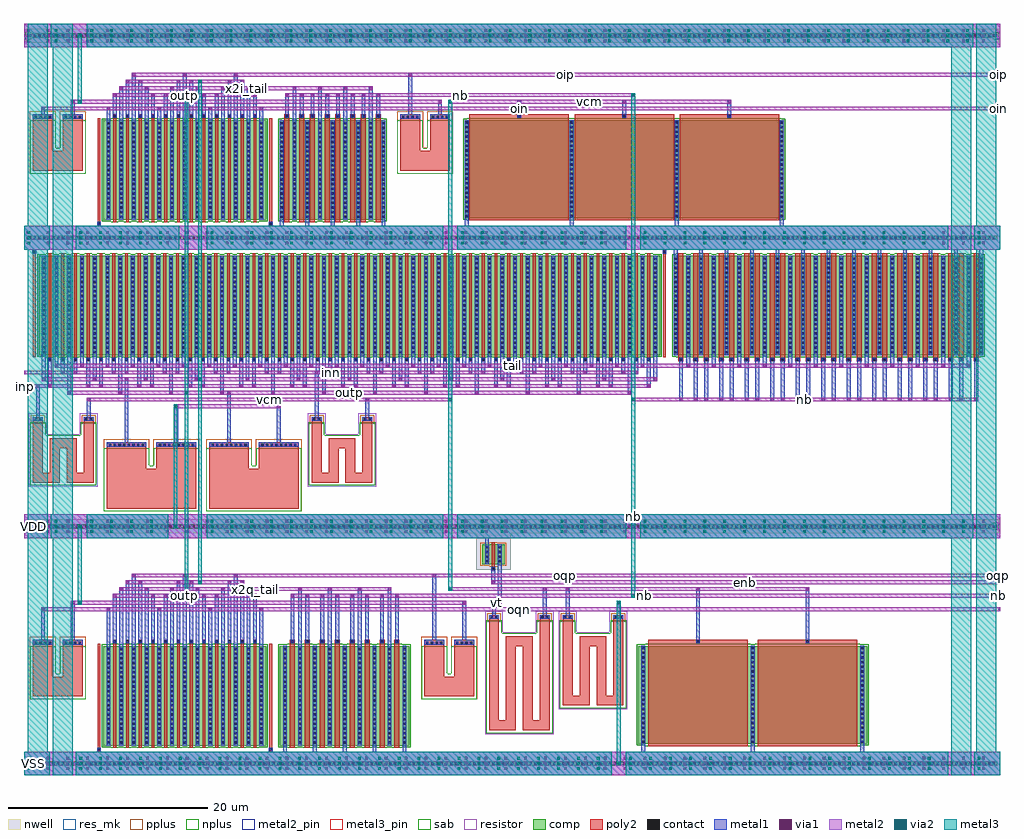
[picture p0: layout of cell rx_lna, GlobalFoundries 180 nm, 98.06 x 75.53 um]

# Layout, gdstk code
import gdstk
lib = gdstk.Library(unit=1e-6, precision=1e-09)
def R(c, l, rs):  # rectangles x0, y0, x1, y1
    for r in rs: c.add(gdstk.rectangle(r[:2], r[2:], *l))
def A(c, l, x, y, w, h, nx, ny, dx, dy):  # array of equal rectangles
    R(c, l, [(x+i*dx, y+j*dy, x+i*dx+w, y+j*dy+h) for i in range(nx) for j in range(ny)])
nwell = (21, 0)
comp = (22, 0)
poly2 = (30, 0)
pplus = (31, 0)
nplus = (32, 0)
contact = (33, 0)
metal1 = (34, 0)
via1 = (35, 0)
metal2 = (36, 0)
metal2_pin = (36, 10)
via2 = (38, 0)
metal3 = (42, 0)
metal3_pin = (42, 10)
sab = (49, 0)
resistor = (62, 0)
res_mk = (110, 5)

rx_lna = lib.new_cell('rx_lna')
R(rx_lna, nwell, [(45.42,18.285,48.9,21.915), (0.15,21.915,97.91,23.315), (0.15,71.235,97.91,72.635)])
R(rx_lna, comp, [(0.3,-1.39,97.76,-1.01), (7.98,0.6,24.34,10.6), (25.72,0.6,38.72,10.6), (61.72,0.77,84.72,10.6), (46.02,18.815,48.3,20.815), (0.3,22.425,97.76,22.805), (1.48,39.82,63.92,49.82), (65.3,39.82,96.36,49.82), (0.3,51.43,97.76,51.81), (7.98,53.42,24.34,63.42), (25.72,53.42,36.3,63.42), (44.3,53.59,76.32,63.42), (0.3,71.745,97.76,72.125)])
A(rx_lna, poly2, 8.98, 0.37, 0.28, 10.49, 12, 2, 1.28, 52.82)
A(rx_lna, poly2, 26.72, 0.37, 0.5, 10.86, 8, 1, 1.5, 0)
A(rx_lna, poly2, 8.935, 10.86, 0.37, 0.37, 12, 2, 1.28, 52.82)
A(rx_lna, poly2, 2.435, 39.19, 0.37, 0.37, 48, 1, 1.28, 0)
A(rx_lna, poly2, 2.48, 39.56, 0.28, 10.49, 48, 1, 1.28, 0)
A(rx_lna, poly2, 44.75, 53.36, 10, 10.69, 3, 1, 10.56, 0)
R(rx_lna, poly2, [(7.355,0.03,7.725,0.4), (24.595,0.03,24.965,0.4), (7.4,0.4,7.68,10.83), (24.64,0.4,24.92,10.83), (62.72,0.54,72.72,11.23), (73.72,0.54,83.72,11.23), (46.72,2.125,49.42,3.125), (50.12,2.125,52.82,3.125), (46.72,3.125,47.72,13.71), (48.42,3.125,49.42,10.6), (50.12,3.125,51.12,10.6), (51.82,3.125,52.82,13.71), (54.12,4.625,56.82,5.625), (57.52,4.625,60.22,5.625), (0.9,5.53,5.9,7.53), (40.22,5.53,45.22,7.53), (54.12,5.625,55.12,13.71), (55.82,5.625,56.82,10.6), (57.52,5.625,58.52,10.6), (59.22,5.625,60.22,13.71), (0.9,7.53,2.9,11.21), (3.9,7.53,5.9,11.21), (40.22,7.53,42.22,11.21), (43.22,7.53,45.22,11.21), (48.42,10.6,51.12,11.6), (55.82,10.6,58.52,11.6), (46.975,18.185,47.345,18.555), (47.02,18.555,47.3,21.045), (8.3,24.415,17.3,28.415), (18.6,24.415,27.6,28.415), (0.9,27.01,3.6,28.01), (4.3,27.01,7,28.01), (28.9,27.01,31.6,28.01), (32.3,27.01,35,28.01), (0.9,28.01,1.9,33.595), (2.6,28.01,3.6,30.485), (4.3,28.01,5.3,30.485), (6,28.01,7,33.595), (28.9,28.01,29.9,33.595), (30.6,28.01,31.6,30.485), (32.3,28.01,33.3,30.485), (34,28.01,35,33.595), (8.3,28.415,12.3,31.095), (13.3,28.415,17.3,31.095), (18.6,28.415,22.6,31.095), (23.6,28.415,27.6,31.095), (2.6,30.485,5.3,31.485), (30.6,30.485,33.3,31.485), (65.75,39.19,66.25,50.05), (67.25,39.19,67.75,50.05), (68.31,39.19,68.81,50.05), (69.81,39.19,70.31,50.05), (70.87,39.19,71.37,50.05), (72.37,39.19,72.87,50.05), (73.43,39.19,73.93,50.05), (74.93,39.19,75.43,50.05), (75.99,39.19,76.49,50.05), (77.49,39.19,77.99,50.05), (78.55,39.19,79.05,50.05), (80.05,39.19,80.55,50.05), (81.11,39.19,81.61,50.05), (82.61,39.19,83.11,50.05), (83.67,39.19,84.17,50.05), (85.17,39.19,85.67,50.05), (86.23,39.19,86.73,50.05), (87.73,39.19,88.23,50.05), (88.79,39.19,89.29,50.05), (90.29,39.19,90.79,50.05), (91.35,39.19,91.85,50.05), (92.85,39.19,93.35,50.05), (93.91,39.19,94.41,50.05), (95.41,39.19,95.91,50.05), (0.9,39.59,1.18,50.02), (64.22,39.59,64.5,50.02), (0.855,50.02,1.225,50.39), (64.175,50.02,64.545,50.39), (7.355,52.85,7.725,53.22), (24.595,52.85,24.965,53.22), (26.17,53.19,26.67,64.05), (27.67,53.19,28.17,64.05), (28.73,53.19,29.23,64.05), (30.23,53.19,30.73,64.05), (31.29,53.19,31.79,64.05), (32.79,53.19,33.29,64.05), (33.85,53.19,34.35,64.05), (35.35,53.19,35.85,64.05), (7.4,53.22,7.68,63.65), (24.64,53.22,24.92,63.65), (0.9,58.35,5.9,60.35), (37.8,58.35,42.8,60.35), (0.9,60.35,2.9,64.03), (3.9,60.35,5.9,64.03), (37.8,60.35,39.8,64.03), (40.8,60.35,42.8,64.03)])
R(rx_lna, pplus, [(0.28,-1.41,97.78,-0.99), (0.6,5.23,6.2,7.83), (39.92,5.23,45.52,7.83), (0.6,7.83,3.2,11.51), (3.6,7.83,6.2,11.51), (39.92,7.83,42.52,11.51), (42.92,7.83,45.52,11.51), (46.52,13.1,47.92,13.91), (51.62,13.1,53.02,13.91), (53.92,13.1,55.32,13.91), (59.02,13.1,60.42,13.91), (46.79,18.585,47.53,18.655), (45.86,18.655,48.46,20.975), (46.79,20.975,47.53,21.045), (8,24.115,17.6,28.715), (18.3,24.115,27.9,28.715), (8,28.715,12.6,31.395), (13,28.715,17.6,31.395), (18.3,28.715,22.9,31.395), (23.3,28.715,27.9,31.395), (0.7,32.985,2.1,33.795), (5.8,32.985,7.2,33.795), (28.7,32.985,30.1,33.795), (33.8,32.985,35.2,33.795), (0.28,51.41,97.78,51.83), (0.6,58.05,6.2,60.65), (37.5,58.05,43.1,60.65), (0.6,60.65,3.2,64.33), (3.6,60.65,6.2,64.33), (37.5,60.65,40.1,64.33), (40.5,60.65,43.1,64.33)])
A(rx_lna, nplus, 8.75, 0.37, 0.74, 0.07, 12, 2, 1.28, 10.39)
A(rx_lna, nplus, 26.49, 0.37, 0.96, 0.07, 8, 2, 1.5, 10.39)
A(rx_lna, nplus, 2.25, 39.59, 0.74, 0.07, 48, 2, 1.28, 10.39)
A(rx_lna, nplus, 67.02, 39.59, 2.02, 0.07, 11, 2, 2.56, 10.39)
A(rx_lna, nplus, 8.75, 53.19, 0.74, 0.07, 12, 2, 1.28, 10.39)
A(rx_lna, nplus, 27.44, 53.19, 2.02, 0.07, 3, 2, 2.56, 10.39)
R(rx_lna, nplus, [(7.82,0.44,24.5,10.76), (25.56,0.44,38.88,10.76), (62.49,0.54,72.95,0.61), (73.49,0.54,83.95,0.61), (61.56,0.61,84.88,10.76), (62.49,10.76,72.95,10.83), (73.49,10.76,83.95,10.83), (0.14,22.265,0.74,22.405), (97.32,22.265,97.92,22.405), (0.14,22.405,97.92,22.825), (0.14,22.825,0.74,22.965), (97.32,22.825,97.92,22.965), (65.52,39.59,66.48,39.66), (95.18,39.59,96.14,39.66), (1.32,39.66,64.08,49.98), (65.14,39.66,96.52,49.98), (65.52,49.98,66.48,50.05), (95.18,49.98,96.14,50.05), (25.94,53.19,26.9,53.26), (35.12,53.19,36.08,53.26), (7.82,53.26,24.5,63.58), (25.56,53.26,36.46,63.58), (44.52,53.36,76.1,53.43), (44.14,53.43,76.48,63.58), (25.94,63.58,26.9,63.65), (35.12,63.58,36.08,63.65), (44.52,63.58,76.1,63.65), (0.14,71.585,0.74,71.725), (97.32,71.585,97.92,71.725), (0.14,71.725,97.92,72.145), (0.14,72.145,0.74,72.285), (97.32,72.145,97.92,72.285)])
A(rx_lna, contact, 0.51, -1.31, 0.22, 0.22, 207, 2, 0.47, 23.815)
A(rx_lna, contact, 8.37, 0.79, 0.22, 0.22, 13, 21, 1.28, 0.47)
A(rx_lna, contact, 26.11, 0.79, 0.22, 0.22, 9, 21, 1.5, 0.47)
A(rx_lna, contact, 62.11, 0.875, 0.22, 0.22, 3, 21, 11, 0.47)
A(rx_lna, contact, 1.085, 10.82, 0.22, 0.22, 4, 2, 0.47, 52.82)
A(rx_lna, contact, 4.085, 10.82, 0.22, 0.22, 4, 2, 0.47, 52.82)
A(rx_lna, contact, 40.405, 10.82, 0.22, 0.22, 4, 1, 0.47, 0)
A(rx_lna, contact, 43.405, 10.82, 0.22, 0.22, 4, 1, 0.47, 0)
A(rx_lna, contact, 9.01, 10.935, 0.22, 0.22, 12, 2, 1.28, 52.82)
A(rx_lna, contact, 26.86, 10.935, 0.22, 0.22, 8, 1, 1.5, 0)
A(rx_lna, contact, 46.41, 19, 0.22, 0.22, 1, 4, 0, 0.47)
A(rx_lna, contact, 47.69, 19, 0.22, 0.22, 1, 4, 0, 0.47)
A(rx_lna, contact, 8.545, 30.705, 0.22, 0.22, 8, 1, 0.47, 0)
A(rx_lna, contact, 13.545, 30.705, 0.22, 0.22, 8, 1, 0.47, 0)
A(rx_lna, contact, 18.845, 30.705, 0.22, 0.22, 8, 1, 0.47, 0)
A(rx_lna, contact, 23.845, 30.705, 0.22, 0.22, 8, 1, 0.47, 0)
A(rx_lna, contact, 2.51, 39.265, 0.22, 0.22, 48, 1, 1.28, 0)
A(rx_lna, contact, 1.87, 40.01, 0.22, 0.22, 49, 21, 1.28, 0.47)
A(rx_lna, contact, 65.375, 40.01, 0.22, 0.22, 1, 21, 0, 0.47)
A(rx_lna, contact, 66.64, 40.01, 0.22, 0.22, 23, 21, 1.28, 0.47)
A(rx_lna, contact, 96.065, 40.01, 0.22, 0.22, 1, 21, 0, 0.47)
A(rx_lna, contact, 0.51, 51.51, 0.22, 0.22, 207, 2, 0.47, 20.315)
A(rx_lna, contact, 8.37, 53.61, 0.22, 0.22, 13, 21, 1.28, 0.47)
A(rx_lna, contact, 25.795, 53.61, 0.22, 0.22, 1, 21, 0, 0.47)
A(rx_lna, contact, 27.06, 53.61, 0.22, 0.22, 7, 21, 1.28, 0.47)
A(rx_lna, contact, 36.005, 53.61, 0.22, 0.22, 1, 21, 0, 0.47)
A(rx_lna, contact, 44.375, 53.695, 0.22, 0.22, 1, 21, 0, 0.47)
A(rx_lna, contact, 54.92, 53.695, 0.22, 0.22, 1, 21, 0, 0.47)
A(rx_lna, contact, 65.48, 53.695, 0.22, 0.22, 1, 21, 0, 0.47)
A(rx_lna, contact, 76.025, 53.695, 0.22, 0.22, 1, 21, 0, 0.47)
A(rx_lna, contact, 37.985, 63.64, 0.22, 0.22, 4, 1, 0.47, 0)
A(rx_lna, contact, 40.985, 63.64, 0.22, 0.22, 4, 1, 0.47, 0)
A(rx_lna, contact, 49.64, 63.755, 0.22, 0.22, 3, 1, 10.56, 0)
R(rx_lna, contact, [(7.43,0.105,7.65,0.325), (24.67,0.105,24.89,0.325), (67.61,10.935,67.83,11.155), (78.61,10.935,78.83,11.155), (46.875,13.42,47.095,13.64), (47.345,13.42,47.565,13.64), (51.975,13.42,52.195,13.64), (52.445,13.42,52.665,13.64), (54.275,13.42,54.495,13.64), (54.745,13.42,54.965,13.64), (59.375,13.42,59.595,13.64), (59.845,13.42,60.065,13.64), (47.05,18.26,47.27,18.48), (1.055,33.305,1.275,33.525), (1.525,33.305,1.745,33.525), (6.155,33.305,6.375,33.525), (6.625,33.305,6.845,33.525), (29.055,33.305,29.275,33.525), (29.525,33.305,29.745,33.525), (34.155,33.305,34.375,33.525), (34.625,33.305,34.845,33.525), (65.89,39.265,66.11,39.485), (67.39,39.265,67.61,39.485), (68.45,39.265,68.67,39.485), (69.95,39.265,70.17,39.485), (71.01,39.265,71.23,39.485), (72.51,39.265,72.73,39.485), (73.57,39.265,73.79,39.485), (75.07,39.265,75.29,39.485), (76.13,39.265,76.35,39.485), (77.63,39.265,77.85,39.485), (78.69,39.265,78.91,39.485), (80.19,39.265,80.41,39.485), (81.25,39.265,81.47,39.485), (82.75,39.265,82.97,39.485), (83.81,39.265,84.03,39.485), (85.31,39.265,85.53,39.485), (86.37,39.265,86.59,39.485), (87.87,39.265,88.09,39.485), (88.93,39.265,89.15,39.485), (90.43,39.265,90.65,39.485), (91.49,39.265,91.71,39.485), (92.99,39.265,93.21,39.485), (94.05,39.265,94.27,39.485), (95.55,39.265,95.77,39.485), (0.93,50.095,1.15,50.315), (64.25,50.095,64.47,50.315), (7.43,52.925,7.65,53.145), (24.67,52.925,24.89,53.145), (26.31,63.755,26.53,63.975), (27.81,63.755,28.03,63.975), (28.87,63.755,29.09,63.975), (30.37,63.755,30.59,63.975), (31.43,63.755,31.65,63.975), (32.93,63.755,33.15,63.975), (33.99,63.755,34.21,63.975), (35.49,63.755,35.71,63.975)])
A(rx_lna, metal1, 26.03, 0, 0.38, 10.605, 5, 1, 3, 0)
A(rx_lna, metal1, 62.03, 0, 0.38, 10.605, 3, 1, 11, 0)
A(rx_lna, metal1, 8.29, 0.595, 0.38, 13.875, 4, 1, 5.12, 0)
A(rx_lna, metal1, 9.57, 0.595, 0.38, 15.915, 6, 1, 2.56, 0)
A(rx_lna, metal1, 10.85, 0.595, 0.38, 17.275, 3, 1, 5.12, 0)
A(rx_lna, metal1, 27.53, 0.595, 0.38, 15.915, 4, 1, 3, 0)
A(rx_lna, metal1, 26.78, 10.855, 0.38, 4.975, 8, 1, 1.5, 0)
A(rx_lna, metal1, 4.35, 35.85, 0.38, 13.975, 12, 1, 5.12, 0)
A(rx_lna, metal1, 1.79, 37.21, 0.38, 12.615, 13, 1, 5.12, 0)
A(rx_lna, metal1, 3.07, 38.57, 0.38, 11.255, 24, 1, 2.56, 0)
A(rx_lna, metal1, 66.56, 38.57, 0.38, 11.255, 12, 1, 2.56, 0)
A(rx_lna, metal1, 67.84, 39.815, 0.38, 10.605, 11, 1, 2.56, 0)
A(rx_lna, metal1, 28.26, 52.82, 0.38, 10.605, 3, 1, 2.56, 0)
A(rx_lna, metal1, 8.29, 53.415, 0.38, 11.375, 4, 1, 5.12, 0)
A(rx_lna, metal1, 9.57, 53.415, 0.38, 13.415, 6, 1, 2.56, 0)
A(rx_lna, metal1, 10.85, 53.415, 0.38, 14.775, 3, 1, 5.12, 0)
A(rx_lna, metal1, 26.98, 53.415, 0.38, 13.415, 4, 1, 2.56, 0)
A(rx_lna, metal1, 49.56, 63.675, 0.38, 1.795, 3, 1, 10.56, 0)
R(rx_lna, metal1, [(0,-2.4,98.06,0), (7.35,0,7.73,0.4), (24.59,0,24.97,0.4), (0.9,10.75,2.9,11.21), (3.9,10.75,5.9,11.21), (40.22,10.75,42.22,11.21), (43.22,10.75,45.22,11.21), (8.93,10.855,9.31,15.83), (10.21,10.855,10.59,17.19), (11.49,10.855,11.87,17.19), (12.77,10.855,13.15,15.83), (14.05,10.855,14.43,15.83), (15.33,10.855,15.71,17.19), (16.61,10.855,16.99,17.19), (17.89,10.855,18.27,15.83), (19.17,10.855,19.55,15.83), (20.45,10.855,20.83,17.19), (21.73,10.855,22.11,17.19), (23.01,10.855,23.39,15.83), (67.53,10.855,67.91,16.51), (78.53,10.855,78.91,16.51), (1.71,11.21,2.09,14.47), (4.71,11.21,5.09,15.15), (41.03,11.21,41.41,17.87), (44.03,11.21,44.41,15.15), (46.72,13.35,47.72,13.71), (51.82,13.35,52.82,13.71), (54.12,13.35,55.12,13.71), (59.22,13.35,60.22,13.71), (47.03,13.71,47.41,14.77), (52.13,13.71,52.51,16.51), (54.43,13.71,54.81,16.51), (59.53,13.71,59.91,15.15), (47.03,14.77,47.99,15.15), (47.61,15.15,47.99,20.82), (46.97,16.81,47.35,18.56), (46.33,18.81,46.71,21.415), (0,21.415,98.06,23.815), (8.3,30.635,12.3,31.095), (13.3,30.635,17.3,31.095), (18.6,30.635,22.6,31.095), (23.6,30.635,27.6,31.095), (10.11,31.095,10.49,37.59), (15.11,31.095,15.49,34.87), (20.41,31.095,20.79,36.23), (25.41,31.095,25.79,34.87), (0.9,33.235,1.9,33.595), (6,33.235,7,33.595), (28.9,33.235,29.9,33.595), (34,33.235,35,33.595), (1.21,33.595,1.59,36.91), (6.31,33.595,6.69,35.55), (29.21,33.595,29.59,37.89), (34.31,33.595,34.69,35.55), (65.81,35.17,66.19,39.565), (67.31,35.17,67.69,39.565), (68.37,35.17,68.75,39.565), (69.87,35.17,70.25,39.565), (70.93,35.17,71.31,39.565), (72.43,35.17,72.81,39.565), (73.49,35.17,73.87,39.565), (74.99,35.17,75.37,39.565), (76.05,35.17,76.43,39.565), (77.55,35.17,77.93,39.565), (78.61,35.17,78.99,39.565), (80.11,35.17,80.49,39.565), (81.17,35.17,81.55,39.565), (82.67,35.17,83.05,39.565), (83.73,35.17,84.11,39.565), (85.23,35.17,85.61,39.565), (86.29,35.17,86.67,39.565), (87.79,35.17,88.17,39.565), (88.85,35.17,89.23,39.565), (90.35,35.17,90.73,39.565), (91.41,35.17,91.79,39.565), (92.91,35.17,93.29,39.565), (93.97,35.17,94.35,39.565), (95.47,35.17,95.85,39.565), (2.43,36.53,2.81,39.565), (6.27,36.53,6.65,39.565), (7.55,36.53,7.93,39.565), (11.39,36.53,11.77,39.565), (12.67,36.53,13.05,39.565), (16.51,36.53,16.89,39.565), (17.79,36.53,18.17,39.565), (21.63,36.53,22.01,39.565), (22.91,36.53,23.29,39.565), (26.75,36.53,27.13,39.565), (28.03,36.53,28.41,39.565), (31.87,36.53,32.25,39.565), (33.15,36.53,33.53,39.565), (36.99,36.53,37.37,39.565), (38.27,36.53,38.65,39.565), (42.11,36.53,42.49,39.565), (43.39,36.53,43.77,39.565), (47.23,36.53,47.61,39.565), (48.51,36.53,48.89,39.565), (52.35,36.53,52.73,39.565), (53.63,36.53,54.01,39.565), (57.47,36.53,57.85,39.565), (58.75,36.53,59.13,39.565), (62.59,36.53,62.97,39.565), (3.71,37.89,4.09,39.565), (4.99,37.89,5.37,39.565), (8.83,37.89,9.21,39.565), (10.11,37.89,10.49,39.565), (13.95,37.89,14.33,39.565), (15.23,37.89,15.61,39.565), (19.07,37.89,19.45,39.565), (20.35,37.89,20.73,39.565), (24.19,37.89,24.57,39.565), (25.47,37.89,25.85,39.565), (29.21,37.89,29.69,38.27), (30.59,37.89,30.97,39.565), (34.43,37.89,34.81,39.565), (35.71,37.89,36.09,39.565), (39.55,37.89,39.93,39.565), (40.83,37.89,41.21,39.565), (44.67,37.89,45.05,39.565), (45.95,37.89,46.33,39.565), (49.79,37.89,50.17,39.565), (51.07,37.89,51.45,39.565), (54.91,37.89,55.29,39.565), (56.19,37.89,56.57,39.565), (60.03,37.89,60.41,39.565), (61.31,37.89,61.69,39.565), (29.31,38.27,29.69,39.565), (65.295,39.815,65.675,50.42), (95.985,39.815,96.365,50.42), (0.85,50.02,1.23,50.42), (64.17,50.02,64.55,50.42), (0,50.42,98.06,52.82), (7.35,52.82,7.73,53.22), (24.59,52.82,24.97,53.22), (25.715,52.82,26.095,63.425), (35.925,52.82,36.305,63.425), (44.295,52.82,44.675,63.425), (54.84,52.82,55.22,63.425), (65.4,52.82,65.78,63.425), (75.945,52.82,76.325,63.425), (0.9,63.57,2.9,64.03), (3.9,63.57,5.9,64.03), (37.8,63.57,39.8,64.03), (40.8,63.57,42.8,64.03), (8.93,63.675,9.31,66.15), (10.21,63.675,10.59,67.51), (11.49,63.675,11.87,67.51), (12.77,63.675,13.15,66.15), (14.05,63.675,14.43,66.15), (15.33,63.675,15.71,67.51), (16.61,63.675,16.99,67.51), (17.89,63.675,18.27,66.15), (19.17,63.675,19.55,66.15), (20.45,63.675,20.83,67.51), (21.73,63.675,22.11,67.51), (23.01,63.675,23.39,66.15), (26.23,63.675,26.61,66.15), (27.73,63.675,28.11,66.15), (28.79,63.675,29.17,66.15), (30.29,63.675,30.67,66.15), (31.35,63.675,31.73,66.15), (32.85,63.675,33.23,66.15), (33.91,63.675,34.29,66.15), (35.41,63.675,35.79,66.15), (1.71,64.03,2.09,64.79), (4.71,64.03,5.09,65.47), (38.61,64.03,38.99,68.19), (41.61,64.03,41.99,65.47), (0,70.735,98.06,73.135)])
A(rx_lna, via1, 0.27, -1.85, 0.26, 0.26, 49, 3, 2, 0.52)
A(rx_lna, via1, 8.35, 14.15, 0.26, 0.26, 4, 2, 5.12, 50.32)
A(rx_lna, via1, 26.84, 15.51, 0.26, 0.26, 8, 1, 1.5, 0)
A(rx_lna, via1, 9.63, 16.19, 0.26, 0.26, 6, 2, 2.56, 50.32)
A(rx_lna, via1, 27.59, 16.19, 0.26, 0.26, 4, 1, 3, 0)
A(rx_lna, via1, 10.91, 17.55, 0.26, 0.26, 3, 2, 5.12, 50.32)
A(rx_lna, via1, 0.27, 21.965, 0.26, 0.26, 49, 3, 2, 0.52)
A(rx_lna, via1, 4.41, 35.91, 0.26, 0.26, 4, 1, 5.12, 0)
A(rx_lna, via1, 24.89, 35.91, 0.26, 0.26, 8, 1, 5.12, 0)
A(rx_lna, via1, 12.09, 37.27, 0.26, 0.26, 11, 1, 5.12, 0)
A(rx_lna, via1, 3.13, 38.63, 0.26, 0.26, 24, 1, 2.56, 0)
A(rx_lna, via1, 66.62, 38.63, 0.26, 0.26, 12, 1, 2.56, 0)
A(rx_lna, via1, 0.27, 50.97, 0.26, 0.26, 49, 3, 2, 0.52)
A(rx_lna, via1, 49.62, 65.15, 0.26, 0.26, 3, 1, 10.56, 0)
A(rx_lna, via1, 27.04, 66.51, 0.26, 0.26, 4, 1, 2.56, 0)
A(rx_lna, via1, 0.27, 71.285, 0.26, 0.26, 49, 3, 2, 0.52)
R(rx_lna, via1, [(1.77,14.15,2.03,14.41), (4.77,14.83,5.03,15.09), (44.09,14.83,44.35,15.09), (47.67,14.83,47.93,15.09), (59.59,14.83,59.85,15.09), (8.99,15.51,9.25,15.77), (12.83,15.51,13.09,15.77), (14.11,15.51,14.37,15.77), (17.95,15.51,18.21,15.77), (19.23,15.51,19.49,15.77), (23.07,15.51,23.33,15.77), (52.19,16.19,52.45,16.45), (54.49,16.19,54.75,16.45), (67.59,16.19,67.85,16.45), (78.59,16.19,78.85,16.45), (10.27,16.87,10.53,17.13), (11.55,16.87,11.81,17.13), (15.39,16.87,15.65,17.13), (16.67,16.87,16.93,17.13), (20.51,16.87,20.77,17.13), (21.79,16.87,22.05,17.13), (47.03,16.87,47.29,17.13), (41.09,17.55,41.35,17.81), (15.17,34.55,15.43,34.81), (25.47,34.55,25.73,34.81), (6.37,35.23,6.63,35.49), (34.37,35.23,34.63,35.49), (65.87,35.23,66.13,35.49), (67.37,35.23,67.63,35.49), (68.43,35.23,68.69,35.49), (69.93,35.23,70.19,35.49), (70.99,35.23,71.25,35.49), (72.49,35.23,72.75,35.49), (73.55,35.23,73.81,35.49), (75.05,35.23,75.31,35.49), (76.11,35.23,76.37,35.49), (77.61,35.23,77.87,35.49), (78.67,35.23,78.93,35.49), (80.17,35.23,80.43,35.49), (81.23,35.23,81.49,35.49), (82.73,35.23,82.99,35.49), (83.79,35.23,84.05,35.49), (85.29,35.23,85.55,35.49), (86.35,35.23,86.61,35.49), (87.85,35.23,88.11,35.49), (88.91,35.23,89.17,35.49), (90.41,35.23,90.67,35.49), (91.47,35.23,91.73,35.49), (92.97,35.23,93.23,35.49), (94.03,35.23,94.29,35.49), (95.53,35.23,95.79,35.49), (20.47,35.91,20.73,36.17), (1.27,36.59,1.53,36.85), (2.49,36.59,2.75,36.85), (6.33,36.59,6.59,36.85), (7.61,36.59,7.87,36.85), (11.45,36.59,11.71,36.85), (12.73,36.59,12.99,36.85), (16.57,36.59,16.83,36.85), (17.85,36.59,18.11,36.85), (21.69,36.59,21.95,36.85), (22.97,36.59,23.23,36.85), (26.81,36.59,27.07,36.85), (28.09,36.59,28.35,36.85), (31.93,36.59,32.19,36.85), (33.21,36.59,33.47,36.85), (37.05,36.59,37.31,36.85), (38.33,36.59,38.59,36.85), (42.17,36.59,42.43,36.85), (43.45,36.59,43.71,36.85), (47.29,36.59,47.55,36.85), (48.57,36.59,48.83,36.85), (52.41,36.59,52.67,36.85), (53.69,36.59,53.95,36.85), (57.53,36.59,57.79,36.85), (58.81,36.59,59.07,36.85), (62.65,36.59,62.91,36.85), (1.85,37.27,2.11,37.53), (6.97,37.27,7.23,37.53), (10.17,37.27,10.43,37.53), (3.77,37.95,4.03,38.21), (5.05,37.95,5.31,38.21), (8.89,37.95,9.15,38.21), (10.17,37.95,10.43,38.21), (14.01,37.95,14.27,38.21), (15.29,37.95,15.55,38.21), (19.13,37.95,19.39,38.21), (20.41,37.95,20.67,38.21), (24.25,37.95,24.51,38.21), (25.53,37.95,25.79,38.21), (29.27,37.95,29.53,38.21), (30.65,37.95,30.91,38.21), (34.49,37.95,34.75,38.21), (35.77,37.95,36.03,38.21), (39.61,37.95,39.87,38.21), (40.89,37.95,41.15,38.21), (44.73,37.95,44.99,38.21), (46.01,37.95,46.27,38.21), (49.85,37.95,50.11,38.21), (51.13,37.95,51.39,38.21), (54.97,37.95,55.23,38.21), (56.25,37.95,56.51,38.21), (60.09,37.95,60.35,38.21), (61.37,37.95,61.63,38.21), (1.77,64.47,2.03,64.73), (4.77,65.15,5.03,65.41), (41.67,65.15,41.93,65.41), (8.99,65.83,9.25,66.09), (12.83,65.83,13.09,66.09), (14.11,65.83,14.37,66.09), (17.95,65.83,18.21,66.09), (19.23,65.83,19.49,66.09), (23.07,65.83,23.33,66.09), (26.29,65.83,26.55,66.09), (27.79,65.83,28.05,66.09), (28.85,65.83,29.11,66.09), (30.35,65.83,30.61,66.09), (31.41,65.83,31.67,66.09), (32.91,65.83,33.17,66.09), (33.97,65.83,34.23,66.09), (35.47,65.83,35.73,66.09), (10.27,67.19,10.53,67.45), (11.55,67.19,11.81,67.45), (15.39,67.19,15.65,67.45), (16.67,67.19,16.93,67.45), (20.51,67.19,20.77,67.45), (21.79,67.19,22.05,67.45), (38.67,67.87,38.93,68.13)])
R(rx_lna, metal2, [(0,-2.4,98.06,0), (1.71,14.09,98.06,14.47), (4.71,14.77,44.41,15.15), (47.03,14.77,47.99,15.15), (59.53,14.77,59.945,15.15), (8.93,15.45,23.39,15.83), (26.78,15.45,98.06,15.83), (9.57,16.13,36.91,16.51), (42.65,16.13,78.91,16.51), (10.21,16.81,22.11,17.19), (46.97,16.81,98.06,17.19), (10.85,17.49,98.06,17.87), (0,21.415,98.06,23.815), (15.025,34.49,25.79,34.87), (6.31,35.17,43.03,35.55), (61.01,35.17,95.85,35.55), (4.35,35.85,61.05,36.23), (0,36.53,62.97,36.91), (1.79,37.21,63.61,37.59), (0,37.89,61.69,38.27), (3.07,38.57,95.1,38.95), (0,50.42,98.06,52.82), (1.71,64.41,98.06,64.79), (4.71,65.09,41.99,65.47), (42.65,65.09,71.06,65.47), (8.93,65.77,23.39,66.15), (26.23,65.77,61.39,66.15), (9.57,66.45,35.04,66.83), (10.21,67.13,22.11,67.51), (10.85,67.81,98.06,68.19), (0,70.735,98.06,73.135)])
A(rx_lna, metal2_pin, 97.86, 14.23, 0.1, 0.1, 1, 3, 0, 1.36)
R(rx_lna, metal2_pin, [(0.95,-1.25,1.05,-1.15), (97.86,17.63,97.96,17.73), (0.95,22.565,1.05,22.665), (0.1,36.67,0.2,36.77), (0.1,38.03,0.2,38.13), (97.86,64.55,97.96,64.65), (97.86,67.95,97.96,68.05)])
A(rx_lna, via2, 0.37, -1.85, 0.26, 0.26, 1, 3, 0, 0.52)
A(rx_lna, via2, 5.57, -1.85, 0.26, 0.26, 27, 3, 2, 0.52)
A(rx_lna, via2, 60.825, -1.85, 0.26, 0.26, 16, 3, 2, 0.52)
A(rx_lna, via2, 95.83, -1.85, 0.26, 0.26, 1, 3, 0, 0.52)
A(rx_lna, via2, 3.07, 21.965, 0.26, 0.26, 1, 3, 0, 0.52)
A(rx_lna, via2, 6.68, 21.965, 0.26, 0.26, 4, 3, 2, 0.52)
A(rx_lna, via2, 18.75, 21.965, 0.26, 0.26, 12, 3, 2, 0.52)
A(rx_lna, via2, 43.91, 21.965, 0.26, 0.26, 8, 3, 2, 0.52)
A(rx_lna, via2, 62.27, 21.965, 0.26, 0.26, 17, 3, 2, 0.52)
A(rx_lna, via2, 0.37, 50.97, 0.26, 0.26, 1, 3, 0, 0.52)
A(rx_lna, via2, 5.57, 50.97, 0.26, 0.26, 5, 3, 2, 0.52)
A(rx_lna, via2, 18.75, 50.97, 0.26, 0.26, 12, 3, 2, 0.52)
A(rx_lna, via2, 43.91, 50.97, 0.26, 0.26, 8, 3, 2, 0.52)
A(rx_lna, via2, 62.27, 50.97, 0.26, 0.26, 15, 3, 2, 0.52)
A(rx_lna, via2, 95.83, 50.97, 0.26, 0.26, 1, 3, 0, 0.52)
A(rx_lna, via2, 3.07, 71.285, 0.26, 0.26, 1, 3, 0, 0.52)
A(rx_lna, via2, 6.68, 71.285, 0.26, 0.26, 45, 3, 2, 0.52)
R(rx_lna, via2, [(59.625,-1.33,59.885,-1.07), (5.48,14.83,5.74,15.09), (59.625,14.83,59.885,15.09), (16.19,15.51,16.45,15.77), (61.07,15.51,61.33,15.77), (42.71,16.19,42.97,16.45), (17.55,16.87,17.81,17.13), (5.48,22.485,5.74,22.745), (15.085,22.485,15.345,22.745), (15.085,34.55,15.345,34.81), (42.71,35.23,42.97,35.49), (61.07,35.23,61.33,35.49), (16.19,35.91,16.45,36.17), (17.55,37.27,17.81,37.53), (5.48,65.15,5.74,65.41), (42.71,65.15,42.97,65.41), (16.19,65.83,16.45,66.09), (61.07,65.83,61.33,66.09), (17.55,67.19,17.81,67.45), (5.48,71.805,5.74,72.065)])
R(rx_lna, metal3, [(0,-2.4,2.6,0), (2.9,-2.4,4.9,21.415), (5.2,-2.4,59.055,0), (60.455,-2.4,92.86,0), (93.16,-2.4,95.16,21.415), (95.46,-2.4,98.06,0), (59.565,-1.39,59.945,15.15), (0.4,0,2.4,50.42), (95.66,0,97.66,50.42), (5.42,14.77,5.8,22.805), (16.13,15.45,16.51,66.15), (61.01,15.45,61.39,66.15), (42.65,16.13,43.03,65.47), (17.49,16.81,17.87,67.51), (2.7,21.415,4.91,23.815), (6.31,21.415,14.515,23.815), (18.38,21.415,42.14,23.815), (43.54,21.415,60.5,23.815), (61.9,21.415,95.36,23.815), (15.025,22.425,15.405,34.87), (2.9,23.815,4.9,70.735), (93.16,23.815,95.16,70.735), (0,50.42,2.6,52.82), (5.2,50.42,15.62,52.82), (18.38,50.42,42.14,52.82), (43.54,50.42,60.5,52.82), (61.9,50.42,92.86,52.82), (95.46,50.42,98.06,52.82), (0.4,52.82,2.4,73.135), (95.66,52.82,97.66,73.135), (5.42,65.09,5.8,72.125), (2.7,70.735,4.91,73.135), (6.31,70.735,95.36,73.135)])
R(rx_lna, metal3_pin, [(61.15,23.565,61.25,23.665)])
R(rx_lna, sab, [(46.44,1.845,49.7,3.405), (46.44,1.845,53.1,11.88), (49.84,1.845,53.1,3.405), (46.44,3.405,48,13.2), (48.14,3.405,49.7,10.32), (49.84,3.405,51.4,10.32), (51.54,3.405,53.1,13.2), (53.84,4.345,57.1,5.905), (53.84,4.345,60.5,11.88), (57.24,4.345,60.5,5.905), (0.62,5.25,6.18,7.81), (39.94,5.25,45.5,7.81), (53.84,5.905,55.4,13.2), (55.54,5.905,57.1,10.32), (57.24,5.905,58.8,10.32), (58.94,5.905,60.5,13.2), (0.62,7.81,3.18,10.6), (3.62,7.81,6.18,10.6), (39.94,7.81,42.5,10.6), (42.94,7.81,45.5,10.6), (48.14,10.32,51.4,11.88), (55.54,10.32,58.8,11.88), (46.44,11.88,48,13.1), (51.54,11.88,53.1,13.1), (53.84,11.88,55.4,13.1), (58.94,11.88,60.5,13.1), (8.02,24.135,17.58,28.695), (18.32,24.135,27.88,28.695), (0.62,26.73,3.88,28.29), (0.62,26.73,7.28,31.765), (4.02,26.73,7.28,28.29), (28.62,26.73,31.88,28.29), (28.62,26.73,35.28,31.765), (32.02,26.73,35.28,28.29), (0.62,28.29,2.18,33.085), (2.32,28.29,3.88,30.205), (4.02,28.29,5.58,30.205), (5.72,28.29,7.28,33.085), (28.62,28.29,30.18,33.085), (30.32,28.29,31.88,30.205), (32.02,28.29,33.58,30.205), (33.72,28.29,35.28,33.085), (8.02,28.695,12.58,30.485), (13.02,28.695,17.58,30.485), (18.32,28.695,22.88,30.485), (23.32,28.695,27.88,30.485), (2.32,30.205,5.58,31.765), (30.32,30.205,33.58,31.765), (0.62,31.765,2.18,32.985), (5.72,31.765,7.28,32.985), (28.62,31.765,30.18,32.985), (33.72,31.765,35.28,32.985), (0.62,58.07,6.18,60.63), (37.52,58.07,43.08,60.63), (0.62,60.63,3.18,63.42), (3.62,60.63,6.18,63.42), (37.52,60.63,40.08,63.42), (40.52,60.63,43.08,63.42)])
R(rx_lna, resistor, [(46.32,1.725,53.22,12), (53.72,4.225,60.62,12), (46.32,12,48.12,14.11), (51.42,12,53.22,14.11), (53.72,12,55.52,14.11), (58.82,12,60.62,14.11), (0.5,26.61,7.4,31.885), (28.5,26.61,35.4,31.885), (0.5,31.885,2.3,33.995), (5.6,31.885,7.4,33.995), (28.5,31.885,30.3,33.995), (33.6,31.885,35.4,33.995)])
R(rx_lna, res_mk, [(46.44,1.845,53.1,11.88), (46.72,2.125,49.42,3.125), (50.12,2.125,52.82,3.125), (46.72,3.125,47.72,13.1), (48.42,3.125,49.42,10.6), (50.12,3.125,51.12,10.6), (51.82,3.125,52.82,13.1), (53.84,4.345,60.5,11.88), (54.12,4.625,56.82,5.625), (57.52,4.625,60.22,5.625), (0.9,5.53,5.9,7.53), (40.22,5.53,45.22,7.53), (54.12,5.625,55.12,13.1), (55.82,5.625,56.82,10.6), (57.52,5.625,58.52,10.6), (59.22,5.625,60.22,13.1), (0.9,7.53,2.9,10.6), (3.9,7.53,5.9,10.6), (40.22,7.53,42.22,10.6), (43.22,7.53,45.22,10.6), (48.42,10.6,51.12,11.6), (55.82,10.6,58.52,11.6), (46.44,11.88,48,13.1), (51.54,11.88,53.1,13.1), (53.84,11.88,55.4,13.1), (58.94,11.88,60.5,13.1), (8.3,24.415,17.3,28.415), (18.6,24.415,27.6,28.415), (0.62,26.73,7.28,31.765), (28.62,26.73,35.28,31.765), (0.9,27.01,3.6,28.01), (4.3,27.01,7,28.01), (28.9,27.01,31.6,28.01), (32.3,27.01,35,28.01), (0.9,28.01,1.9,32.985), (2.6,28.01,3.6,30.485), (4.3,28.01,5.3,30.485), (6,28.01,7,32.985), (28.9,28.01,29.9,32.985), (30.6,28.01,31.6,30.485), (32.3,28.01,33.3,30.485), (34,28.01,35,32.985), (8.3,28.415,12.3,30.485), (13.3,28.415,17.3,30.485), (18.6,28.415,22.6,30.485), (23.6,28.415,27.6,30.485), (2.6,30.485,5.3,31.485), (30.6,30.485,33.3,31.485), (0.62,31.765,2.18,32.985), (5.72,31.765,7.28,32.985), (28.62,31.765,30.18,32.985), (33.72,31.765,35.28,32.985), (0.9,58.35,5.9,60.35), (37.8,58.35,42.8,60.35), (0.9,60.35,2.9,63.42), (3.9,60.35,5.9,63.42), (37.8,60.35,39.8,63.42), (40.8,60.35,42.8,63.42)])
rx_lna.add(gdstk.Label('oqn', (49.83,14.28), layer=36, texttype=0))
rx_lna.add(gdstk.Label('outp', (16.16,15.64), layer=36, texttype=0))
rx_lna.add(gdstk.Label('x2q_tail', (23.24,16.32), layer=36, texttype=0))
rx_lna.add(gdstk.Label('outn', (16.16,17), layer=36, texttype=0))
rx_lna.add(gdstk.Label('oqp', (54.4,17.68), layer=36, texttype=0))
rx_lna.add(gdstk.Label('nb', (62.365,15.64), layer=36, texttype=0))
rx_lna.add(gdstk.Label('vcm', (60.78,16.32), layer=36, texttype=0))
rx_lna.add(gdstk.Label('vt', (47.51,14.96), layer=36, texttype=0))
rx_lna.add(gdstk.Label('enb', (72.46,17), layer=36, texttype=0))
rx_lna.add(gdstk.Label('tail', (49.085,38.76), layer=36, texttype=0))
rx_lna.add(gdstk.Label('inn', (30.9,38.08), layer=36, texttype=0))
rx_lna.add(gdstk.Label('outn', (32.7,37.4), layer=36, texttype=0))
rx_lna.add(gdstk.Label('inp', (31.54,36.72), layer=36, texttype=0))
rx_lna.add(gdstk.Label('outp', (32.7,36.04), layer=36, texttype=0))
rx_lna.add(gdstk.Label('vcm', (24.67,35.36), layer=36, texttype=0))
rx_lna.add(gdstk.Label('nb', (78.43,35.36), layer=36, texttype=0))
rx_lna.add(gdstk.Label('oin', (49.83,64.6), layer=36, texttype=0))
rx_lna.add(gdstk.Label('outp', (16.16,65.96), layer=36, texttype=0))
rx_lna.add(gdstk.Label('x2i_tail', (22.305,66.64), layer=36, texttype=0))
rx_lna.add(gdstk.Label('outn', (16.16,67.32), layer=36, texttype=0))
rx_lna.add(gdstk.Label('oip', (54.4,68), layer=36, texttype=0))
rx_lna.add(gdstk.Label('nb', (43.81,65.96), layer=36, texttype=0))
rx_lna.add(gdstk.Label('vcm', (56.855,65.28), layer=36, texttype=0))
rx_lna.add(gdstk.Label('nb', (97.91,15.64), layer=36, texttype=10))
rx_lna.add(gdstk.Label('enb', (97.91,17), layer=36, texttype=10))
rx_lna.add(gdstk.Label('oqp', (97.91,17.68), layer=36, texttype=10))
rx_lna.add(gdstk.Label('oqn', (97.91,14.28), layer=36, texttype=10))
rx_lna.add(gdstk.Label('inp', (0.15,36.72), layer=36, texttype=10))
rx_lna.add(gdstk.Label('inn', (0.15,38.08), layer=36, texttype=10))
rx_lna.add(gdstk.Label('oip', (97.91,68), layer=36, texttype=10))
rx_lna.add(gdstk.Label('oin', (97.91,64.6), layer=36, texttype=10))
rx_lna.add(gdstk.Label('VSS', (1,-1.2), layer=36, texttype=10))
rx_lna.add(gdstk.Label('VDD', (1,22.615), layer=36, texttype=10))
rx_lna.add(gdstk.Label('nb', (61.2,23.615), layer=42, texttype=10))

lib.write_gds('rx_lna.gds')
